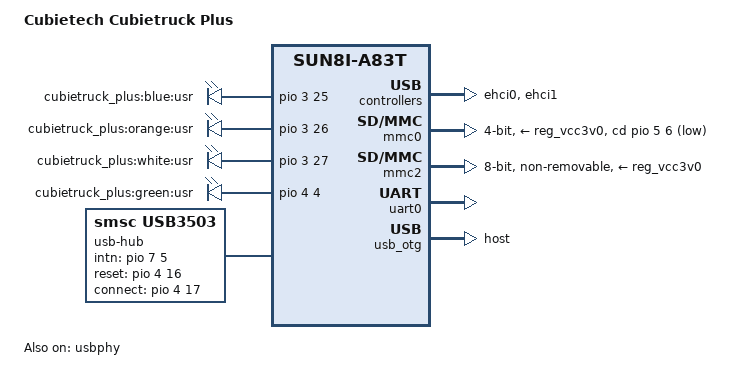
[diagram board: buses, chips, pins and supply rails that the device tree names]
/*
 * Copyright 2015 Chen-Yu Tsai
 *
 * Chen-Yu Tsai <wens@csie.org>
 *
 * This file is dual-licensed: you can use it either under the terms
 * of the GPL or the X11 license, at your option. Note that this dual
 * licensing only applies to this file, and not this project as a
 * whole.
 *
 *  a) This file is free software; you can redistribute it and/or
 *     modify it under the terms of the GNU General Public License as
 *     published by the Free Software Foundation; either version 2 of the
 *     License, or (at your option) any later version.
 *
 *     This file is distributed in the hope that it will be useful,
 *     but WITHOUT ANY WARRANTY; without even the implied warranty of
 *     MERCHANTABILITY or FITNESS FOR A PARTICULAR PURPOSE.  See the
 *     GNU General Public License for more details.
 *
 * Or, alternatively,
 *
 *  b) Permission is hereby granted, free of charge, to any person
 *     obtaining a copy of this software and associated documentation
 *     files (the "Software"), to deal in the Software without
 *     restriction, including without limitation the rights to use,
 *     copy, modify, merge, publish, distribute, sublicense, and/or
 *     sell copies of the Software, and to permit persons to whom the
 *     Software is furnished to do so, subject to the following
 *     conditions:
 *
 *     The above copyright notice and this permission notice shall be
 *     included in all copies or substantial portions of the Software.
 *
 *     THE SOFTWARE IS PROVIDED "AS IS", WITHOUT WARRANTY OF ANY KIND,
 *     EXPRESS OR IMPLIED, INCLUDING BUT NOT LIMITED TO THE WARRANTIES
 *     OF MERCHANTABILITY, FITNESS FOR A PARTICULAR PURPOSE AND
 *     NONINFRINGEMENT. IN NO EVENT SHALL THE AUTHORS OR COPYRIGHT
 *     HOLDERS BE LIABLE FOR ANY CLAIM, DAMAGES OR OTHER LIABILITY,
 *     WHETHER IN AN ACTION OF CONTRACT, TORT OR OTHERWISE, ARISING
 *     FROM, OUT OF OR IN CONNECTION WITH THE SOFTWARE OR THE USE OR
 *     OTHER DEALINGS IN THE SOFTWARE.
 */

/dts-v1/;
#include "sun8i-a83t.dtsi"
#include "sunxi-common-regulators.dtsi"

/ {
	model = "Cubietech Cubietruck Plus";
	compatible = "cubietech,cubietruck-plus", "allwinner,sun8i-a83t";

	aliases {
		serial0 = &uart0;
	};

	chosen {
		stdout-path = "serial0:115200n8";
	};

	leds {
		compatible = "gpio-leds";
		pinctrl-names = "default";
		pinctrl-0 = <&led_pins_cubietruck_plus>;

		blue {
			label = "cubietruck_plus:blue:usr";
			gpios = <&pio 3 25 GPIO_ACTIVE_HIGH>; /* PD25 */
		};

		orange {
			label = "cubietruck_plus:orange:usr";
			gpios = <&pio 3 26 GPIO_ACTIVE_HIGH>; /* PD26 */
		};

		white {
			label = "cubietruck_plus:white:usr";
			gpios = <&pio 3 27 GPIO_ACTIVE_HIGH>; /* PD27 */
		};

		green {
			label = "cubietruck_plus:green:usr";
			gpios = <&pio 4 4 GPIO_ACTIVE_HIGH>; /* PE4 */
		};
	};

	usb-hub {
		/* I2C is not connected */
		compatible = "smsc,usb3503";
		pinctrl-names = "default";
		pinctrl-0 = <&usb_hub_control_pins_cubietruck_plus>,
			    <&usb_hub_int_pin_cubietruck_plus>;
		initial-mode = <1>; /* initialize in HUB mode */
		disabled-ports = <1>;
		intn-gpios = <&pio 7 5 GPIO_ACTIVE_HIGH>; /* PH5 */
		reset-gpios = <&pio 4 16 GPIO_ACTIVE_HIGH>; /* PE16 */
		connect-gpios = <&pio 4 17 GPIO_ACTIVE_HIGH>; /* PE17 */
		refclk-frequency = <19200000>;
	};
};

&ehci0 {
	/* GL830 USB-to-SATA bridge here */
	status = "okay";
};

&ehci1 {
	/* USB3503 HSIC USB 2.0 hub here */
	status = "okay";
};

&mmc0 {
	pinctrl-names = "default";
	pinctrl-0 = <&mmc0_pins_a>, <&mmc0_cd_pin_reference_design>;
	vmmc-supply = <&reg_vcc3v0>;
	cd-gpios = <&pio 5 6 GPIO_ACTIVE_HIGH>; /* PF6 */
	bus-width = <4>;
	cd-inverted;
	status = "okay";
};

&mmc2 {
	pinctrl-names = "default";
	pinctrl-0 = <&mmc2_8bit_pins>;
	vmmc-supply = <&reg_vcc3v0>;
	bus-width = <8>;
	non-removable;
	cap-mmc-hw-reset;
	status = "okay";
};

&pio {
	led_pins_cubietruck_plus: led_pins@0 {
		allwinner,pins = "PD25", "PD26", "PD27", "PE4";
		allwinner,function = "gpio_out";
		allwinner,drive = <SUN4I_PINCTRL_10_MA>;
		allwinner,pull = <SUN4I_PINCTRL_NO_PULL>;
	};

	usb_hub_control_pins_cubietruck_plus: usb_hub_control_pins {
		allwinner,pins = "PE16", "PE17";
		allwinner,function = "gpio_out";
		allwinner,drive = <SUN4I_PINCTRL_10_MA>;
		allwinner,pull = <SUN4I_PINCTRL_NO_PULL>;
	};

	usb_hub_int_pin_cubietruck_plus: usb_hub_int_pin {
		allwinner,pins = "PH5";
		allwinner,function = "irq";
		allwinner,drive = <SUN4I_PINCTRL_10_MA>;
		allwinner,pull = <SUN4I_PINCTRL_NO_PULL>;
	};
};

&r_pio {
	usb2_vbus_pin_cubietruck_plus: usb2_vbus_pin_b {
		allwinner,pins = "PL6";
		allwinner,function = "gpio_out";
		allwinner,drive = <SUN4I_PINCTRL_10_MA>;
		allwinner,pull = <SUN4I_PINCTRL_NO_PULL>;
	};
};

&reg_usb1_vbus {
	gpio = <&pio 3 29 GPIO_ACTIVE_HIGH>; /* PD29 */
	status = "okay";
};

&reg_usb2_vbus {
	pinctrl-0 = <&usb2_vbus_pin_cubietruck_plus>;
	gpio = <&r_pio 0 6 GPIO_ACTIVE_HIGH>; /* PL6 */
	status = "okay";
};

&reg_vcc3v3 {
	status = "disabled";
};

&reg_vcc5v0 {
	status = "disabled";
};

&uart0 {
	pinctrl-names = "default";
	pinctrl-0 = <&uart0_pins_b>;
	status = "okay";
};

&usbphy {
	usb1_vbus-supply = <&reg_usb1_vbus>;
	usb2_vbus-supply = <&reg_usb2_vbus>;
	status = "okay";
};

&usb_otg {
	/* VBUS detection/drive support in PMIC required for OTG */
	dr_mode = "host";
	status = "okay";
};

&usb1_vbus_pin_a {
	allwinner,pins = "PD29";
};
